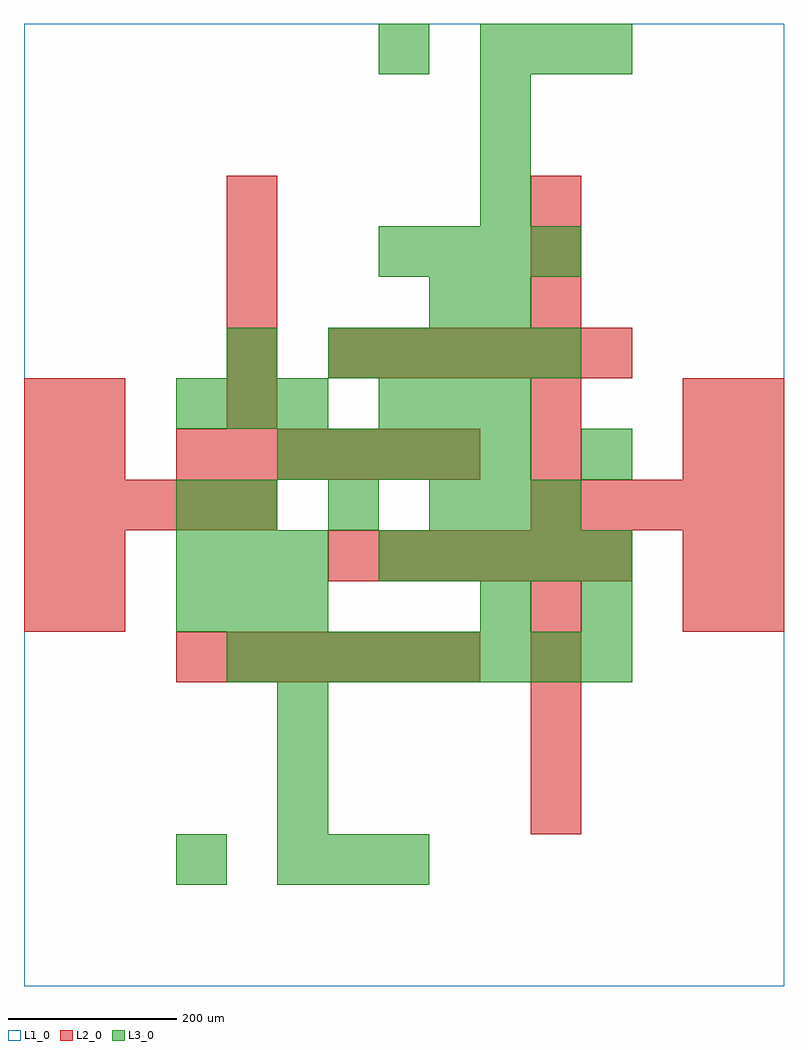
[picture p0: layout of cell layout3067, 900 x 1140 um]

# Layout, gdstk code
import gdstk
lib = gdstk.Library(unit=1e-6, precision=1e-09)
def R(c, l, rs):  # rectangles x0, y0, x1, y1
    for r in rs: c.add(gdstk.rectangle(r[:2], r[2:], *l))
def A(c, l, x, y, w, h, nx, ny, dx, dy):  # array of equal rectangles
    R(c, l, [(x+i*dx, y+j*dy, x+i*dx+w, y+j*dy+h) for i in range(nx) for j in range(ny)])
L1_0 = (1, 0)
L2_0 = (2, 0)
L3_0 = (3, 0)

layout3067 = lib.new_cell('layout3067')
R(layout3067, L1_0, [(0,0,900,1140)])
A(layout3067, L2_0, 600, 180, 60, 60, 1, 5, 0, 60)
A(layout3067, L2_0, 180, 360, 60, 60, 6, 2, 60, 240)
A(layout3067, L2_0, 360, 480, 60, 60, 6, 2, 60, 240)
A(layout3067, L2_0, 0, 540, 60, 60, 5, 1, 60, 0)
A(layout3067, L2_0, 600, 540, 60, 60, 5, 1, 60, 0)
A(layout3067, L2_0, 240, 660, 60, 60, 1, 5, 0, 60)
A(layout3067, L2_0, 600, 780, 60, 60, 1, 3, 0, 60)
R(layout3067, L2_0, [(0,420,60,480), (60,420,120,480), (780,420,840,480), (840,420,900,480), (0,480,60,540), (60,480,120,540), (780,480,840,540), (840,480,900,540), (0,600,60,660), (60,600,120,660), (600,600,660,660), (780,600,840,660), (840,600,900,660), (0,660,60,720), (60,660,120,720), (600,660,660,720), (780,660,840,720), (840,660,900,720)])
A(layout3067, L3_0, 300, 120, 60, 60, 3, 1, 60, 0)
A(layout3067, L3_0, 300, 180, 60, 60, 1, 3, 0, 60)
A(layout3067, L3_0, 240, 360, 60, 60, 8, 1, 60, 0)
A(layout3067, L3_0, 180, 420, 60, 60, 3, 2, 60, 60)
A(layout3067, L3_0, 420, 480, 60, 60, 5, 1, 60, 0)
A(layout3067, L3_0, 240, 540, 60, 60, 3, 1, 120, 0)
A(layout3067, L3_0, 300, 600, 60, 60, 5, 1, 60, 0)
A(layout3067, L3_0, 180, 660, 60, 60, 3, 1, 60, 0)
A(layout3067, L3_0, 420, 660, 60, 60, 3, 1, 60, 0)
A(layout3067, L3_0, 360, 720, 60, 60, 5, 1, 60, 0)
A(layout3067, L3_0, 420, 840, 60, 60, 4, 1, 60, 0)
A(layout3067, L3_0, 540, 900, 60, 60, 1, 3, 0, 60)
A(layout3067, L3_0, 540, 1080, 60, 60, 3, 1, 60, 0)
R(layout3067, L3_0, [(180,120,240,180), (540,420,600,480), (660,420,720,480), (180,540,240,600), (540,540,600,600), (600,540,660,600), (660,600,720,660), (240,720,300,780), (480,780,540,840), (540,780,600,840), (420,1080,480,1140)])

lib.write_gds('layout3067.gds')
